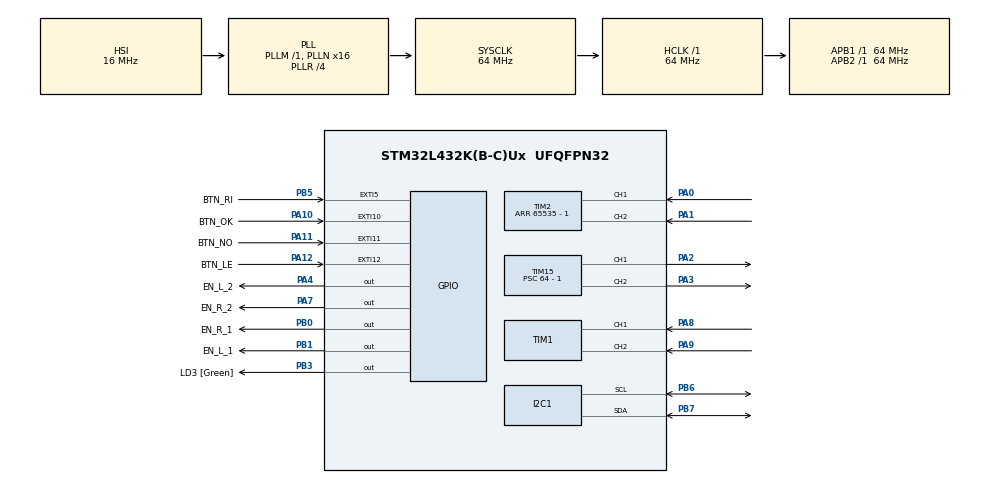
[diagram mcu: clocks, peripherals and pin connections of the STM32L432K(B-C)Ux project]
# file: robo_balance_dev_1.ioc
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I2C1.Timing=0x10707DBC
Mcu.Family=STM32L4
Mcu.Name=STM32L432K(B-C)Ux
Mcu.Package=UFQFPN32
NVIC.EXTI15_10_IRQn=true\:12\:0\:true\:false\:true\:true\:true\:true
NVIC.EXTI9_5_IRQn=true\:12\:0\:true\:false\:true\:true\:true\:true
NVIC.PriorityGroup=NVIC_PRIORITYGROUP_4
NVIC.TIM7_IRQn=true\:8\:0\:true\:false\:true\:true\:true\:true
PA0.Signal=S_TIM2_CH1
PA1.Signal=S_TIM2_CH2
PA10.GPIO_Label=BTN_OK
PA10.GPIO_ModeDefaultEXTI=GPIO_MODE_IT_FALLING
PA10.Signal=GPXTI10
PA11.GPIO_Label=BTN_NO
PA11.GPIO_ModeDefaultEXTI=GPIO_MODE_IT_FALLING
PA11.Signal=GPXTI11
PA12.GPIO_Label=BTN_LE
PA12.GPIO_ModeDefaultEXTI=GPIO_MODE_IT_FALLING
PA12.Signal=GPXTI12
PA13\ (JTMS-SWDIO).GPIO_Label=SWDIO
PA13\ (JTMS-SWDIO).Mode=Serial_Wire
PA13\ (JTMS-SWDIO).Signal=SYS_JTMS-SWDIO
PA14\ (JTCK-SWCLK).GPIO_Label=SWCLK
PA14\ (JTCK-SWCLK).Mode=Serial_Wire
PA14\ (JTCK-SWCLK).Signal=SYS_JTCK-SWCLK
PA2.Signal=S_TIM15_CH1
PA3.Signal=S_TIM15_CH2
PA4.GPIO_Label=EN_L_2
PA4.Signal=GPIO_Output
PA7.GPIO_Label=EN_R_2
PA7.Signal=GPIO_Output
PA8.Signal=S_TIM1_CH1
PA9.Signal=S_TIM1_CH2
PB0.GPIO_Label=EN_R_1
PB0.Signal=GPIO_Output
PB1.GPIO_Label=EN_L_1
PB1.Signal=GPIO_Output
PB3\ (JTDO-TRACESWO).GPIO_Label=LD3 [Green]
PB3\ (JTDO-TRACESWO).Signal=GPIO_Output
PB5.GPIO_Label=BTN_RI
PB5.GPIO_ModeDefaultEXTI=GPIO_MODE_IT_FALLING
PB5.Signal=GPXTI5
PB6.Mode=I2C
PB6.Signal=I2C1_SCL
PB7.Mode=I2C
PB7.Signal=I2C1_SDA
PC14-OSC32_IN\ (PC14).Mode=LSE-External-Oscillator
PC14-OSC32_IN\ (PC14).Signal=RCC_OSC32_IN
PC15-OSC32_OUT\ (PC15).Mode=LSE-External-Oscillator
PC15-OSC32_OUT\ (PC15).Signal=RCC_OSC32_OUT
ProjectManager.HeapSize=0x200
ProjectManager.StackSize=0x400
ProjectManager.TargetToolchain=STM32CubeIDE
RCC.ADCFreq_Value=64000000
RCC.AHBFreq_Value=64000000
RCC.APB1Freq_Value=64000000
RCC.APB1TimFreq_Value=64000000
RCC.APB2Freq_Value=64000000
RCC.APB2TimFreq_Value=64000000
RCC.CortexFreq_Value=64000000
RCC.HCLKFreq_Value=64000000
RCC.HSE_VALUE=8000000
RCC.HSI16_VALUE=16000000
RCC.HSI48_VALUE=48000000
RCC.HSI_VALUE=16000000
RCC.MSI_VALUE=4000000
RCC.PLLMUL=RCC_PLLMUL_4
RCC.PLLN=16
RCC.PLLR=RCC_PLLR_DIV4
RCC.PLLSourceVirtual=RCC_PLLSOURCE_HSI
RCC.RTCClockSelection=RCC_RTCCLKSOURCE_LSE
RCC.SYSCLKFreq_VALUE=64000000
RCC.SYSCLKSource=RCC_SYSCLKSOURCE_PLLCLK
RCC.USBFreq_Value=64000000
RCC.VCOOutputFreq_Value=256000000
SH.S_TIM15_CH1.0=TIM15_CH1,PWM Generation1 CH1
SH.S_TIM15_CH2.0=TIM15_CH2,PWM Generation2 CH2
SH.S_TIM1_CH1.0=TIM1_CH1,Encoder_Interface
SH.S_TIM1_CH2.0=TIM1_CH2,Encoder_Interface
SH.S_TIM2_CH1.0=TIM2_CH1,Encoder_Interface
SH.S_TIM2_CH2.0=TIM2_CH2,Encoder_Interface
TIM15.Channel-PWM\ Generation1\ CH1=TIM_CHANNEL_1
TIM15.Channel-PWM\ Generation2\ CH2=TIM_CHANNEL_2
TIM15.Period=1000 - 1
TIM15.Prescaler=64 - 1
TIM2.Period=65535 - 1
TIM7.Period=2000 - 1
TIM7.Prescaler=640 - 1
VP_TIM7_VS_ClockSourceINT.Mode=Enable_Timer
board=NUCLEO-L432KC

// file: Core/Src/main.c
/* USER CODE BEGIN Header */
/**
  ******************************************************************************
  * @file           : main.c
  * @brief          : Main program body
  ******************************************************************************
  * @attention
  *
  * Copyright (c) 2023 STMicroelectronics.
  * All rights reserved.
  *
  * This software is licensed under terms that can be found in the LICENSE file
  * in the root directory of this software component.
  * If no LICENSE file comes with this software, it is provided AS-IS.
  *
  ******************************************************************************
  */
/* USER CODE END Header */
#include "main.h"
#include "i2c.h"
#include "tim.h"
#include "gpio.h"

/* USER CODE BEGIN Includes */
#include <stdio.h>
#include <stdlib.h>
#include <string.h>
#include "i2c-lcd.h"
#include "i2c-eeprom.h"
#include "i2c-logger.h"
#include "mpu6050.h"
/* USER CODE END Includes */

/* USER CODE BEGIN PTD */
typedef enum {	// enum for FSM management
  NULL_state,
  BALANCE_state,
  ENCODER_DISPLAY_state,
  IMU_DISPLAY_state,
  EEPROM_RW_state,
  HOME_state,

  REG_state,	// one function for all three states?
  KP_state,		// kp
  KI_state,		// ki
  KD_state,		// kd
  INT_state,	// integral size
  TRG_state		//target state
} FSM_states_t;

typedef enum {	// enum for PID settings choice
	NULL_choice,
	ANGLE_choice,
	POSITION_choice,
	DIRECTION_choice
} FSM_reg_choice_t;

typedef enum {	// enum for btn flag status
  BTN_not_pressed,
  BTN_pressed
} BTN_interrupt_status_t;

typedef enum {	// enum for timer flag status
	TIM_no_interrupt,
	TIM_interrupted
} TIMER_interrupt_status_t;

typedef struct {  // struct for holding all button status flags
  BTN_interrupt_status_t ok;
  BTN_interrupt_status_t no;
  BTN_interrupt_status_t left;
  BTN_interrupt_status_t right;
} BTN_flags_t;

typedef struct {  // struct for holding PID variables
	double target_value;// calc input optional
	double error;			// calc
	double previous_error;	// calc
	double integral;	// calc
	double derivative; 	// calc
	double int_limit;	// set in eeprom
	double kp;			// set in eeprom
	double ki;			// set in eeprom
	double kd;			// set in eeprom
	char name[16 + 1];		// set in code
	uint8_t id;				// set in code
} PID_variables_t;
/* USER CODE END PTD */

/* USER CODE BEGIN PD */
#define LCD_LEFT_ARROW 127	// added by Tadzik for LCD
#define LCD_RIGHT_ARROW 126
#define LCD_DEGREE_SYMBOL 223

#define DOUBLE_SIZE 0x08
#define EEP_ADD_ANG_KP 0 * DOUBLE_SIZE
#define EEP_ADD_ANG_KI 1 * DOUBLE_SIZE
#define EEP_ADD_ANG_KD 2 * DOUBLE_SIZE
#define EEP_ADD_ANG_INT 3 * DOUBLE_SIZE
#define EEP_ADD_POS_KP 4 * DOUBLE_SIZE
#define EEP_ADD_POS_KI 5 * DOUBLE_SIZE
#define EEP_ADD_POS_KD 6 * DOUBLE_SIZE
#define EEP_ADD_POS_INT 7 * DOUBLE_SIZE
#define EEP_ADD_DIR_KP 8 * DOUBLE_SIZE
#define EEP_ADD_DIR_KI 9 * DOUBLE_SIZE
#define EEP_ADD_DIR_KD 10 * DOUBLE_SIZE
#define EEP_ADD_DIR_INT 11 * DOUBLE_SIZE
#define EEP_ADD_ANG_TRG 12 * DOUBLE_SIZE
/* USER CODE END PD */

/* USER CODE BEGIN PV */
FSM_states_t current_state = HOME_state;
FSM_states_t previous_state = NULL_state;
FSM_reg_choice_t current_choice = ANGLE_choice;
FSM_reg_choice_t previous_choice = NULL_choice;

TIMER_interrupt_status_t volatile tim7_20ms_flag = TIM_no_interrupt; // timer interrupts flag
BTN_flags_t volatile BTN;		// for holding current state of btn interrupt flag

char MSG[20];		// string for string printing
MPU6050_t MPU6050; 	// MPU lib data struct instance
PID_variables_t angle_PID;
PID_variables_t position_PID;
PID_variables_t direction_PID;
PID_variables_t *current_PID;
int16_t old_encd_left = 0, encd_left = 0, sum_encd_left = 0;
int16_t old_encd_right = 0, encd_right = 0, sum_encd_right = 0;
int16_t duty_left = 0, duty_right = 0;

const double pi10_over_24 = 0.654498;	// this times encoder ticks per 10 ms results in rad/s // FIXME check if true
const double delta_time = 0.02;			// 20 ms
const int16_t encd_reset = 255;			// just big enough so value doesnt overflow in negative dir

double old_value = 0;		// for updating screen and shit
double PWM_returned = 0;

double * log_values[7];		// for holding pointers to values meant to log
/* USER CODE END PV */

void SystemClock_Config(void);
/* USER CODE BEGIN PFP */
void stateNULL(void);
void stateBALANCE(void);
void stateENCODER(void);
void stateIMU(void);
void stateEEPROM(void);
void stateHOME(void);
void stateREG(PID_variables_t *hvar);
void stateKP(PID_variables_t *hvar);
void stateKI(PID_variables_t *hvar);
void stateKD(PID_variables_t *hvar);
void stateINT(PID_variables_t *hvar);
void stateTRG(PID_variables_t *hvar);

void store_data_in_memory(void);
void restore_data_from_memory(void);

void lcd_send_arrows_to_sides(void);
void setMotors(int left_motor_speed, int right_motor_speed, int zero_speed, int offset_zero_speed);
long map(long x, long in_min, long in_max, long out_min, long out_max);
double constrain(double x, double lower_bound, double upper_bound);
double PID(double current_value, double target_value, PID_variables_t *hvar);
/* USER CODE END PFP */

int main(void)
{

  /* MCU Configuration--------------------------------------------------------*/

  /* Reset of all peripherals, Initializes the Flash interface and the Systick. */
  HAL_Init();

  /* USER CODE BEGIN Init */
  current_PID = &angle_PID;
  angle_PID.id = 1;
  position_PID.id = 2;
  direction_PID.id = 3;
  strncpy(angle_PID.name, "angle    \0", 16);
  strncpy(position_PID.name, "position \0", 16);
  strncpy(direction_PID.name, "direction\0", 16);
//  angle_PID.target_value = 1.0;

  BTN.ok = BTN_not_pressed;
  BTN.no = BTN_not_pressed;
  BTN.left = BTN_not_pressed;
  BTN.right = BTN_not_pressed;
  /* USER CODE END Init */

  /* Configure the system clock */
  SystemClock_Config();

  /* Initialize all configured peripherals */
  MX_GPIO_Init();
  MX_I2C1_Init();
  MX_TIM1_Init();
  MX_TIM2_Init();
  MX_TIM15_Init();
  MX_TIM7_Init();

  /* Infinite loop */
  /* USER CODE BEGIN WHILE */
  lcd_init();
  lcd_put_cur(0, 0);
  lcd_send_string("Hello, world!");
  restore_data_from_memory();
  MPU6050_Init(&hi2c1);
  HAL_Delay(1000);
  while (1)
  {
	  switch (current_state)
	  {
		case ENCODER_DISPLAY_state:
			stateENCODER();
			break;
		case IMU_DISPLAY_state:
			stateIMU();
			break;
		case EEPROM_RW_state:
			stateEEPROM();
			break;
		case HOME_state:
			stateHOME();
			break;
		case REG_state:
			switch (current_choice)
			{
			case ANGLE_choice:
				current_PID = &angle_PID;
				stateREG(current_PID);
				break;
			case POSITION_choice:
				current_PID = &position_PID;
				stateREG(current_PID);
				break;
			case DIRECTION_choice:
				current_PID = &direction_PID;
				stateREG(current_PID);
				break;
			default:
				break;
			}
			break;
		case KP_state:
			stateKP(current_PID);
			break;
		case KI_state:
			stateKI(current_PID);
			break;
		case KD_state:
			stateKD(current_PID);
			break;
		case INT_state:
			stateINT(current_PID);
			break;
		case TRG_state:
			stateTRG(current_PID);
			break;
		case BALANCE_state:
			stateBALANCE();
			break;
		default:
			stateNULL();
			break;
	  }
    /* USER CODE END WHILE */

  }
}

void SystemClock_Config(void)
{
  RCC_OscInitTypeDef RCC_OscInitStruct = {0};
  RCC_ClkInitTypeDef RCC_ClkInitStruct = {0};

  /** Configure the main internal regulator output voltage
  */
  if (HAL_PWREx_ControlVoltageScaling(PWR_REGULATOR_VOLTAGE_SCALE1) != HAL_OK)
  {
    Error_Handler();
  }

  /** Initializes the RCC Oscillators according to the specified parameters
  * in the RCC_OscInitTypeDef structure.
  */
  RCC_OscInitStruct.OscillatorType = RCC_OSCILLATORTYPE_HSI;
  RCC_OscInitStruct.HSIState = RCC_HSI_ON;
  RCC_OscInitStruct.HSICalibrationValue = RCC_HSICALIBRATION_DEFAULT;
  RCC_OscInitStruct.PLL.PLLState = RCC_PLL_ON;
  RCC_OscInitStruct.PLL.PLLSource = RCC_PLLSOURCE_HSI;
  RCC_OscInitStruct.PLL.PLLM = 1;
  RCC_OscInitStruct.PLL.PLLN = 16;
  RCC_OscInitStruct.PLL.PLLP = RCC_PLLP_DIV7;
  RCC_OscInitStruct.PLL.PLLQ = RCC_PLLQ_DIV2;
  RCC_OscInitStruct.PLL.PLLR = RCC_PLLR_DIV4;
  if (HAL_RCC_OscConfig(&RCC_OscInitStruct) != HAL_OK)
  {
    Error_Handler();
  }

  /** Initializes the CPU, AHB and APB buses clocks
  */
  RCC_ClkInitStruct.ClockType = RCC_CLOCKTYPE_HCLK|RCC_CLOCKTYPE_SYSCLK
                              |RCC_CLOCKTYPE_PCLK1|RCC_CLOCKTYPE_PCLK2;
  RCC_ClkInitStruct.SYSCLKSource = RCC_SYSCLKSOURCE_PLLCLK;
  RCC_ClkInitStruct.AHBCLKDivider = RCC_SYSCLK_DIV1;
  RCC_ClkInitStruct.APB1CLKDivider = RCC_HCLK_DIV1;
  RCC_ClkInitStruct.APB2CLKDivider = RCC_HCLK_DIV1;

  if (HAL_RCC_ClockConfig(&RCC_ClkInitStruct, FLASH_LATENCY_3) != HAL_OK)
  {
    Error_Handler();
  }
}

/* USER CODE BEGIN 4 */
void stateNULL(void)
{
	if (current_state != previous_state)
	{
		previous_state = current_state;
		lcd_clear();
		lcd_put_cur(0, 0);
		lcd_send_string("oops NULL state?");
		lcd_put_cur(1, 3);
		lcd_send_string("press ok");
		HAL_TIM_Base_Start_IT(&htim7);		//TIMER7
	}
	if (tim7_20ms_flag)						//TIMER7
	{
		tim7_20ms_flag = TIM_no_interrupt; 	//TIMER7
		HAL_GPIO_TogglePin(LD3_GPIO_Port, LD3_Pin);
	}
	if (BTN.ok == BTN_pressed)
	{
		BTN.ok = BTN_not_pressed;
		HAL_TIM_Base_Stop_IT(&htim7);		//TIMER7
		current_state = HOME_state;
	}
	if (BTN.no == BTN_pressed) BTN.no = BTN_not_pressed;
	if (BTN.left == BTN_pressed) BTN.left = BTN_not_pressed;
	if (BTN.right == BTN_pressed) BTN.right = BTN_not_pressed;
}
void stateBALANCE(void)
{
	if (current_state != previous_state)
	{
		previous_state = current_state;
		lcd_clear();
		lcd_put_cur(0, 0);
		lcd_send_string("Balancing");
		HAL_TIM_Encoder_Start(&htim1, TIM_CHANNEL_ALL);	// ENC TIMER1 START
		HAL_TIM_Encoder_Start(&htim2, TIM_CHANNEL_ALL);	// ENC TIMER2 START
		HAL_TIM_PWM_Start(&htim15, TIM_CHANNEL_1);	// PWM TIMER15 START
		HAL_TIM_PWM_Start(&htim15, TIM_CHANNEL_2);	// PWM TIMER15 START
		setMotors(0, 0, 0, 0);	// STOP MOTORS
		HAL_TIM_Base_Start_IT(&htim7);		// TIMER7 START
	}
	if (tim7_20ms_flag)						// TIMER7 IF FLAG
	{
		tim7_20ms_flag = TIM_no_interrupt; 		// TIMER7 FLAG ERASE

		encd_left = (TIM2->CNT) - encd_reset;	// encoders read velocity
		encd_right = (TIM1->CNT) - encd_reset;
		TIM2->CNT = encd_reset;
		TIM1->CNT = encd_reset;

		MPU6050_Read_All(&hi2c1, &MPU6050);		// MPU READ ANGLE KALMAN		// moze komplementarny dac
		PWM_returned = PID(MPU6050.KalmanAngleX, angle_PID.target_value, &angle_PID);	// PID calc

		duty_left = constrain((int16_t)PWM_returned, -999, 999);		// duty constraining
		duty_right = constrain((int16_t)PWM_returned, -999, 999);	// duty constraining
		setMotors(duty_left, duty_right, 0, 0);

		sprintf(MSG, "%+04d, %+04d", duty_left, duty_right);
		lcd_put_cur(1, 0);
		lcd_send_string(MSG);
	}
	if (BTN.ok == BTN_pressed) BTN.ok = BTN_not_pressed;
	if (BTN.no == BTN_pressed)
	{
		BTN.no = BTN_not_pressed;
		setMotors(0, 0, 0, 0);	// STOP MOTORS
		HAL_TIM_Base_Stop_IT(&htim7);		// TIMER7 STOP
		HAL_TIM_PWM_Start(&htim15, TIM_CHANNEL_1);	// PWM TIMER15 STOP
		HAL_TIM_PWM_Start(&htim15, TIM_CHANNEL_2);	// PWM TIMER15 STOP
		HAL_TIM_Encoder_Stop(&htim1, TIM_CHANNEL_ALL);	// ENC TIMER1 STOP
		HAL_TIM_Encoder_Stop(&htim2, TIM_CHANNEL_ALL);	// ENC TIMER2 STOP
		current_state = HOME_state;
	}
	if (BTN.left == BTN_pressed) BTN.left = BTN_not_pressed;
	if (BTN.right == BTN_pressed) BTN.right = BTN_not_pressed;
}
void stateENCODER(void)
{
	if (current_state != previous_state)
	{
		previous_state = current_state;
		lcd_clear();
		lcd_put_cur(0, 0);
		lcd_send_string("ENCODER");
		lcd_put_cur(1, 15);
		lcd_send_data(LCD_RIGHT_ARROW);

		HAL_TIM_Encoder_Start(&htim1, TIM_CHANNEL_ALL);	// ENC TIMER1 START
		HAL_TIM_Encoder_Start(&htim2, TIM_CHANNEL_ALL);	// ENC TIMER2 START
		TIM2->CNT = encd_reset;
		TIM2->CNT = encd_reset;
		HAL_TIM_PWM_Start(&htim15, TIM_CHANNEL_1);	// PWM TIMER15 START
		HAL_TIM_PWM_Start(&htim15, TIM_CHANNEL_2);	// PWM TIMER15 START
		setMotors(0, 0, 0, 0);
		HAL_TIM_Base_Start_IT(&htim7);		// TIMER7 START
	}
	if (tim7_20ms_flag)					// TIMER7 IF FLAG
	{
		tim7_20ms_flag = TIM_no_interrupt; 	// TIMER7 FLAG ERASE
		encd_left = (TIM2->CNT) - encd_reset;
		encd_right = (TIM1->CNT) - encd_reset;
		TIM2->CNT = encd_reset;
		TIM1->CNT = encd_reset;

		if (encd_left != old_encd_left || encd_right != old_encd_right)	// print if change in encoder speed occured
		{
			old_encd_left = encd_left;
			old_encd_right = encd_right;
			lcd_put_cur(0, 8);
			sprintf(MSG, "%+03d %+03d", encd_left, encd_right);
			lcd_send_string(MSG);
		}

		setMotors(duty_left, duty_right, 0, 0);
	}
	if (BTN.ok == BTN_pressed)
	{
		BTN.ok = BTN_not_pressed;
		duty_left = constrain(duty_left + 111, -999, 999);
		duty_right = constrain(duty_right + 111, -999, 999);
		lcd_put_cur(1, 2);
		sprintf(MSG, "%+04d  %+04d", duty_left, duty_right);
		lcd_send_string(MSG);
	}
	if (BTN.no == BTN_pressed)
	{
		BTN.no = BTN_not_pressed;
		duty_left = constrain(duty_left - 111, -999, 999);
		duty_right = constrain(duty_right - 111, -999, 999);
		lcd_put_cur(1, 2);
		sprintf(MSG, "%+04d  %+04d", duty_left, duty_right);
		lcd_send_string(MSG);
	}
	if (BTN.left == BTN_pressed)
	{
		BTN.left = BTN_not_pressed;
	}
	if (BTN.right == BTN_pressed)
	{
		BTN.right = BTN_not_pressed;
		setMotors(0, 0, 0, 0);
		HAL_TIM_Base_Stop_IT(&htim7);		// TIMER7 STOP
		HAL_TIM_PWM_Stop(&htim15, TIM_CHANNEL_1);	// PWM TIMER15 STOP
		HAL_TIM_PWM_Stop(&htim15, TIM_CHANNEL_2);	// PWM TIMER15 STOP
		HAL_TIM_Encoder_Stop(&htim1, TIM_CHANNEL_ALL);	// ENC TIMER1 STOP
		HAL_TIM_Encoder_Stop(&htim2, TIM_CHANNEL_ALL);	// ENC TIMER2 STOP
		current_state = IMU_DISPLAY_state;
	}
}
void stateIMU(void)
{
	if (current_state != previous_state)
	{
		previous_state = current_state;
		lcd_clear();
		lcd_put_cur(0, 0);
		lcd_send_string("IMU");
		lcd_send_arrows_to_sides();
		lcd_put_cur(0, 10);
		lcd_send_data(LCD_DEGREE_SYMBOL);
		HAL_TIM_Base_Start_IT(&htim7);		// TIMER7 START
	}
	if (tim7_20ms_flag)						// TIMER7 IF FLAG
	{
		tim7_20ms_flag = TIM_no_interrupt; 		// TIMER7 FLAG ERASE
		MPU6050_Read_All(&hi2c1, &MPU6050);		// MPU READ ANGLE
		double angle = MPU6050.KalmanAngleX;
		lcd_put_cur(0, 4);						// MPU DISPLAY ANGLE
		sprintf(MSG, "%+06.2f", angle);
		lcd_send_string(MSG);
	}
	if (BTN.ok == BTN_pressed)
	{
		BTN.ok = BTN_not_pressed;
	}
	if (BTN.no == BTN_pressed)
	{
		BTN.no = BTN_not_pressed;
	}
	if (BTN.left == BTN_pressed)
	{
		BTN.left = BTN_not_pressed;
		HAL_TIM_Base_Stop_IT(&htim7);		// TIMER7 STOP
		current_state = ENCODER_DISPLAY_state;
	}
	if (BTN.right == BTN_pressed)
	{
		BTN.right = BTN_not_pressed;
		HAL_TIM_Base_Stop_IT(&htim7);		// TIMER7 STOP
		current_state = EEPROM_RW_state;
	}
}
void stateEEPROM(void)
{
	if (current_state != previous_state)
	{
		previous_state = current_state;
		lcd_clear();
		lcd_put_cur(0, 0);
		lcd_send_string("EEPROM ok-store ");
		lcd_put_cur(1, 2);
		lcd_send_string("back-restore");
		lcd_send_arrows_to_sides();
	}
	if (BTN.ok == BTN_pressed)
	{
		BTN.ok = BTN_not_pressed;
		store_data_in_memory();
	}
	if (BTN.no == BTN_pressed)
	{
		BTN.no = BTN_not_pressed;
		restore_data_from_memory();
	}
	if (BTN.left == BTN_pressed)
	{
		BTN.left = BTN_not_pressed;
		current_state = IMU_DISPLAY_state;
	}
	if (BTN.right == BTN_pressed)
	{
		BTN.right = BTN_not_pressed;
		current_state = HOME_state;
	}
}
void stateHOME(void)
{
	if (current_state != previous_state)
	{
		previous_state = current_state;
		lcd_clear();
		lcd_put_cur(0, 0);
		lcd_send_string("Home");
		lcd_send_arrows_to_sides();
//		HAL_TIM_Base_Start_IT(&htim7);		// TIMER7 START
	}

//	if (tim7_10ms_flag)						// TIMER7 IF FLAG
//	{
//		tim7_10ms_flag = TIM_no_interrupt; 		// TIMER7 FLAG ERASE
//		HAL_GPIO_TogglePin(LD3_GPIO_Port, LD3_Pin);
//	}
	if (BTN.ok == BTN_pressed)
	{
		BTN.ok = BTN_not_pressed;
		current_state = BALANCE_state;
	}
	if (BTN.no == BTN_pressed) BTN.no = BTN_not_pressed;
	if (BTN.left == BTN_pressed)
	{
		BTN.left = BTN_not_pressed;
		current_state = EEPROM_RW_state;
	}
	if (BTN.right == BTN_pressed)
	{
		BTN.right = BTN_not_pressed;
		current_state = REG_state;
	}
}
void stateREG(PID_variables_t *hvar)
{
	if (current_state != previous_state || current_choice != previous_choice)
	{
		previous_state = current_state;
		previous_choice = current_choice;
		lcd_clear();
		lcd_send_arrows_to_sides();
		sprintf(MSG, "Regulator  %1d/3", hvar->id);
		lcd_put_cur(0, 0);
		lcd_send_string(MSG);
		lcd_put_cur(1, 2);
		lcd_send_string(hvar->name);
	}
	if (BTN.ok == BTN_pressed)
	{
		BTN.ok = BTN_not_pressed;
		current_choice = constrain(current_choice + 1, 1, 3);
	}
	if (BTN.no == BTN_pressed)
	{
		BTN.no = BTN_not_pressed;
		current_choice = constrain(current_choice - 1, 1, 3);
	}
	if (BTN.left == BTN_pressed)
	{
		BTN.left = BTN_not_pressed;
		current_state = HOME_state;
	}
	if (BTN.right == BTN_pressed)
	{
		BTN.right = BTN_not_pressed;
		current_state = KP_state;
	}
}
void stateKP(PID_variables_t *hvar)
{
	if (current_state != previous_state || hvar->kp != old_value)
	{
		if (current_state != previous_state)
		{
			lcd_clear();
			lcd_send_arrows_to_sides();
		}
		previous_state = current_state;
		old_value = hvar->kp;

		lcd_put_cur(0, 0);
		sprintf(MSG,"kp = %+06.2f", hvar->kp);
		lcd_send_string(MSG);
	}
	if (BTN.ok == BTN_pressed)
	{
		BTN.ok = BTN_not_pressed;
		hvar->kp += 2.5;
	}
	if (BTN.no == BTN_pressed)
	{
		BTN.no = BTN_not_pressed;
		hvar->kp -= 2.5;
	}
	if (BTN.left == BTN_pressed)
	{
		BTN.left = BTN_not_pressed;
		current_state = REG_state;
	}
	if (BTN.right == BTN_pressed)
	{
		BTN.right = BTN_not_pressed;
		current_state = KI_state;
	}
}
void stateKI(PID_variables_t *hvar)
{
	if (current_state != previous_state || hvar->ki != old_value)
	{
		if (current_state != previous_state)
		{
			lcd_clear();
			lcd_send_arrows_to_sides();
		}
		previous_state = current_state;
		old_value = hvar->ki;

		lcd_put_cur(0, 0);
		sprintf(MSG,"ki = %+06.2f", hvar->ki);
		lcd_send_string(MSG);
	}

	if (BTN.ok == BTN_pressed)
	{
		BTN.ok = BTN_not_pressed;
		hvar->ki += 0.25;
	}
	if (BTN.no == BTN_pressed)
	{
		BTN.no = BTN_not_pressed;
		hvar->ki -= 0.25;
	}
	if (BTN.left == BTN_pressed)
	{
		BTN.left = BTN_not_pressed;
		current_state = KP_state;
	}
	if (BTN.right == BTN_pressed)
	{
		BTN.right = BTN_not_pressed;
		current_state = KD_state;
	}
}
void stateKD(PID_variables_t *hvar)
{
	if (current_state != previous_state || hvar->kd != old_value)
	{
		if (current_state != previous_state)
		{
			lcd_clear();
			lcd_send_arrows_to_sides();
		}
		previous_state = current_state;
		old_value = hvar->kd;

		lcd_put_cur(0, 0);
		sprintf(MSG,"kd = %+06.2f", hvar->kd);
		lcd_send_string(MSG);
	}

	if (BTN.ok == BTN_pressed)
	{
		BTN.ok = BTN_not_pressed;
		hvar->kd += 25;
	}
	if (BTN.no == BTN_pressed)
	{
		BTN.no = BTN_not_pressed;
		hvar->kd -= 25;
	}
	if (BTN.left == BTN_pressed)
	{
		BTN.left = BTN_not_pressed;
		current_state = KI_state;
	}
	if (BTN.right == BTN_pressed)
	{
		BTN.right = BTN_not_pressed;
		current_state = INT_state;
	}
}
void stateINT(PID_variables_t *hvar)
{
	if (current_state != previous_state || hvar->int_limit != old_value)
	{
		if (current_state != previous_state)
		{
			lcd_clear();
			lcd_send_arrows_to_sides();
		}
		previous_state = current_state;
		old_value = hvar->int_limit;

		lcd_put_cur(0, 0);
		sprintf(MSG,"int_lim = %+06.3f", hvar->int_limit);
		lcd_send_string(MSG);
	}
	if (BTN.ok == BTN_pressed)
	{
		BTN.ok = BTN_not_pressed;
		hvar->int_limit += 0.25;
	}
	if (BTN.no == BTN_pressed)
	{
		BTN.no = BTN_not_pressed;
		hvar->int_limit -= 0.25;
	}
	if (BTN.left == BTN_pressed)
	{
		BTN.left = BTN_not_pressed;
		current_state = KD_state;
	}
	if (BTN.right == BTN_pressed)
	{
		BTN.right = BTN_not_pressed;
		current_state = TRG_state;
	}
}
void stateTRG(PID_variables_t *hvar)
{
	if (current_state != previous_state || hvar->target_value != old_value)
	{
		if (current_state != previous_state)
		{
			lcd_clear();
			lcd_put_cur(1, 0);
			lcd_send_data(LCD_LEFT_ARROW);
		}
		previous_state = current_state;
		old_value = hvar->target_value;

		lcd_put_cur(0, 0);
		sprintf(MSG,"target = %+06.2f", hvar->target_value);
		lcd_send_string(MSG);
	}
	if (BTN.ok == BTN_pressed)
	{
		BTN.ok = BTN_not_pressed;
		hvar->target_value += 0.05;
	}
	if (BTN.no == BTN_pressed)
	{
		BTN.no = BTN_not_pressed;
		hvar->target_value -= 0.05;
	}
	if (BTN.left == BTN_pressed)
	{
		BTN.left = BTN_not_pressed;
		current_state = INT_state;
	}
	if (BTN.right == BTN_pressed)
	{
		BTN.right = BTN_not_pressed;
	}
}

void store_data_in_memory(void)
{
	eeprom_write(EEP_ADD_ANG_TRG, &angle_PID.target_value, sizeof(double));
	eeprom_write(EEP_ADD_ANG_KP, &angle_PID.kp, sizeof(double));
	eeprom_write(EEP_ADD_ANG_KI, &angle_PID.ki, sizeof(double));
	eeprom_write(EEP_ADD_ANG_KD, &angle_PID.kd, sizeof(double));
	eeprom_write(EEP_ADD_ANG_INT, &angle_PID.int_limit, sizeof(double));

	eeprom_write(EEP_ADD_POS_KP, &position_PID.kp, sizeof(double));
	eeprom_write(EEP_ADD_POS_KI, &position_PID.ki, sizeof(double));
	eeprom_write(EEP_ADD_POS_KD, &position_PID.kd, sizeof(double));
	eeprom_write(EEP_ADD_POS_INT, &position_PID.int_limit, sizeof(double));

	eeprom_write(EEP_ADD_DIR_KP, &direction_PID.kp, sizeof(double));
	eeprom_write(EEP_ADD_DIR_KI, &direction_PID.ki, sizeof(double));
	eeprom_write(EEP_ADD_DIR_KD, &direction_PID.kd, sizeof(double));
	eeprom_write(EEP_ADD_DIR_INT, &direction_PID.int_limit, sizeof(double));
}
void restore_data_from_memory(void)
{
	eeprom_read(EEP_ADD_ANG_TRG, &angle_PID.target_value, sizeof(double));
	eeprom_read(EEP_ADD_ANG_KP, &angle_PID.kp, sizeof(double));
	eeprom_read(EEP_ADD_ANG_KI, &angle_PID.ki, sizeof(double));
	eeprom_read(EEP_ADD_ANG_KD, &angle_PID.kd, sizeof(double));
	eeprom_read(EEP_ADD_ANG_INT, &angle_PID.int_limit, sizeof(double));

	eeprom_read(EEP_ADD_POS_KP, &position_PID.kp, sizeof(double));
	eeprom_read(EEP_ADD_POS_KI, &position_PID.ki, sizeof(double));
	eeprom_read(EEP_ADD_POS_KD, &position_PID.kd, sizeof(double));
	eeprom_read(EEP_ADD_POS_INT, &position_PID.int_limit, sizeof(double));

	eeprom_read(EEP_ADD_DIR_KP, &direction_PID.kp, sizeof(double));
	eeprom_read(EEP_ADD_DIR_KI, &direction_PID.ki, sizeof(double));
	eeprom_read(EEP_ADD_DIR_KD, &direction_PID.kd, sizeof(double));
	eeprom_read(EEP_ADD_DIR_INT, &direction_PID.int_limit, sizeof(double));
}
/*
 * Function for displaying both arrows on LCD xd
 */
void lcd_send_arrows_to_sides(void)
{
	lcd_put_cur(1, 0);
	lcd_send_data(LCD_LEFT_ARROW);
	lcd_put_cur(1, 15);
	lcd_send_data(LCD_RIGHT_ARROW);
}
/*
 * Function for setting motors at desired speed, input must be between -999 and 999
 * @parameter left_motor_speed
 * @parameter right_motor_speed
 * @parameter
 * @parameter
 */
void setMotors(int left_motor_speed, int right_motor_speed, int zero_speed, int offset_zero_speed)
{
	// -------- min -------------- -offset --- zero --- +offset --------------- max ------->
	// ------ zero+offset_pwm -------------- max_pwm ------>
	//	long left_motor_duty = map(abs(left_motor_speed), 0, 100, 0, 999);
	//	long right_motor_duty = map(abs(right_motor_speed), 0, 100, 0, 999); for testing purposes
	long left_motor_duty = abs(left_motor_speed);
	long right_motor_duty = abs(right_motor_speed);
	if (left_motor_speed > zero_speed + offset_zero_speed) 	// LEFT MOTOR
	{
		HAL_GPIO_WritePin(GPIOB, EN_L_1_Pin, GPIO_PIN_SET); 	// HIGH
		HAL_GPIO_WritePin(GPIOA, EN_L_2_Pin, GPIO_PIN_RESET); 	// LOW
		__HAL_TIM_SET_COMPARE(&htim15, TIM_CHANNEL_2, left_motor_duty);	// Timer
	}
	else if (left_motor_speed < zero_speed - offset_zero_speed)
	{
		HAL_GPIO_WritePin(GPIOB, EN_L_1_Pin, GPIO_PIN_RESET); 	// LOW
		HAL_GPIO_WritePin(GPIOA, EN_L_2_Pin, GPIO_PIN_SET); 	// HIGH
		__HAL_TIM_SET_COMPARE(&htim15, TIM_CHANNEL_2, left_motor_duty); // Timer
	}
	else
	{
		HAL_GPIO_WritePin(GPIOB, EN_L_1_Pin, GPIO_PIN_RESET); 	// LOW
		HAL_GPIO_WritePin(GPIOA, EN_L_2_Pin, GPIO_PIN_RESET); 	// LOW
	}
	if (right_motor_speed > zero_speed + offset_zero_speed)	// RIGHT MOTOR
	{
		HAL_GPIO_WritePin(GPIOB, EN_R_1_Pin, GPIO_PIN_SET); 	// HIGH
		HAL_GPIO_WritePin(GPIOA, EN_R_2_Pin, GPIO_PIN_RESET); 	// LOW
		__HAL_TIM_SET_COMPARE(&htim15, TIM_CHANNEL_1, right_motor_duty); // Timer
	}
	else if (right_motor_speed < zero_speed - offset_zero_speed)
	{
		HAL_GPIO_WritePin(GPIOB, EN_R_1_Pin, GPIO_PIN_RESET); 	// LOW
		HAL_GPIO_WritePin(GPIOA, EN_R_2_Pin, GPIO_PIN_SET); 	// HIGH
		__HAL_TIM_SET_COMPARE(&htim15, TIM_CHANNEL_1, right_motor_duty); // Timer
	}
	else
	{
		HAL_GPIO_WritePin(GPIOB, EN_R_1_Pin, GPIO_PIN_RESET); 	// LOW
		HAL_GPIO_WritePin(GPIOA, EN_R_2_Pin, GPIO_PIN_RESET); 	// LOW
	}
}
/*
 * y = map(x, x_min, x_max, y_min, y_max) function known from Arduino
 */
long map(long x, long in_min, long in_max, long out_min, long out_max)
{
	return (x - in_min) * (out_max - out_min) / (in_max - in_min) + out_min;
}
/*
 * Function for constraining x value between bounds
 * @parameter x input value to be constrained
 * @parameter lower_bound
 * @parameter upper_bound
 *
 * @returns constrained x
 */
double constrain(double x, double lower_bound, double upper_bound)
{
	if (x > upper_bound)
	{
		return upper_bound;
	}
	else if (x < lower_bound)
	{
		return lower_bound;
	}
	else
	{
		return x;
	}
}
/*
 * Function calculates PID values according to data in PID_variables_t structure pointed by *hvar
 * error is calculated between current_value and target_value
 * @parameter current_value
 * @parameter target_value
 * @parameter *hvar
 *
 * @returns PID
 */
double PID(double current_value, double target_value, PID_variables_t *hvar)
{
	hvar->error = (target_value - current_value);	// error calc
	hvar->integral = hvar->integral + hvar->error; 	// Euler quadrature integral
	if (abs(hvar->error) < 0.01) hvar->integral = 0;		// experiment xD
	hvar->integral = constrain(hvar->integral, -hvar->int_limit, hvar->int_limit);	// Anti windup
	hvar->derivative = (hvar->previous_error - hvar->error);	// derivative
	hvar->previous_error = hvar->error;		// save last error for further calculation
	return (hvar->kp * hvar->error) + (hvar->ki * hvar->integral) + (hvar->kd * hvar->derivative);
}

void HAL_TIM_PeriodElapsedCallback(TIM_HandleTypeDef *htim)
{
  if (htim == &htim7)
  {
	  tim7_20ms_flag = TIM_interrupted;
  }
}
void HAL_GPIO_EXTI_Callback(uint16_t GPIO_Pin)
{
	if (GPIO_Pin == BTN_OK_Pin)
	{
		BTN.ok = BTN_pressed;
		HAL_Delay(5); // XDDDD INTERRUPTS ALE CALLED TWICE WITHOUT THIS DUDE RIGHT HERE XD FIXME
	}
	if (GPIO_Pin == BTN_NO_Pin)
	{
		BTN.no = BTN_pressed;
		HAL_Delay(5); // XDDDD INTERRUPTS ALE CALLED TWICE WITHOUT THIS DUDE RIGHT HERE XD
	}
	if (GPIO_Pin == BTN_LE_Pin)
	{
		BTN.left = BTN_pressed;
		HAL_Delay(5); // XDDDD INTERRUPTS ALE CALLED TWICE WITHOUT THIS DUDE RIGHT HERE XD
	}
	if (GPIO_Pin == BTN_RI_Pin)
	{
		BTN.right = BTN_pressed;
		HAL_Delay(5); // XDDDD INTERRUPTS ALE CALLED TWICE WITHOUT THIS DUDE RIGHT HERE XD
	}
}
/* USER CODE END 4 */

void Error_Handler(void)
{
  /* USER CODE BEGIN Error_Handler_Debug */
  /* User can add his own implementation to report the HAL error return state */

	lcd_clear();
	lcd_send_string("ERROR");	// RISKY XD

  __disable_irq();
  while (1)
  {
  }
  /* USER CODE END Error_Handler_Debug */
}
